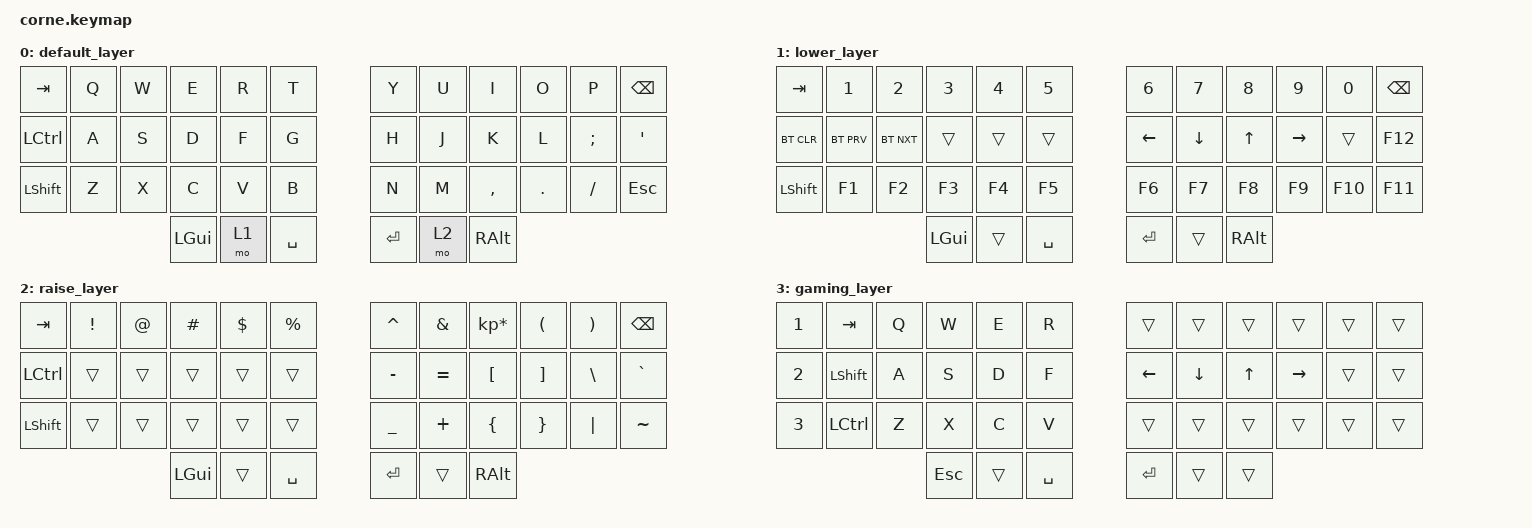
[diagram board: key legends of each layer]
/*
 * Copyright (c) 2020 The ZMK Contributors
 *
 * SPDX-License-Identifier: MIT
 */

#include <behaviors.dtsi>
#include <dt-bindings/zmk/bt.h>
#include <dt-bindings/zmk/keys.h>

/ {
    combos {
        compatible = "zmk,combos";

        gaming-layer-toggle {
            bindings = <&tog 3>;
            key-positions = <37 40>;
            layers = <0 3 2 1>;
            slow-release;
        };
    };

    keymap {
        compatible = "zmk,keymap";

        default_layer {
            // -----------------------------------------------------------------------------------------
            // |  TAB |  Q  |  W  |  E  |  R  |  T  |   |  Y  |  U   |  I  |  O  |  P  | BKSP |
            // | CTRL |  A  |  S  |  D  |  F  |  G  |   |  H  |  J   |  K  |  L  |  ;  |  '   |
            // | SHFT |  Z  |  X  |  C  |  V  |  B  |   |  N  |  M   |  ,  |  .  |  /  | ESC  |
            //                    | GUI | LWR | SPC |   | ENT | RSE  | ALT |

            bindings = <
&kp TAB    &kp Q  &kp W  &kp E     &kp R  &kp T        &kp Y    &kp U  &kp I      &kp O    &kp P     &kp BSPC
&kp LCTRL  &kp A  &kp S  &kp D     &kp F  &kp G        &kp H    &kp J  &kp K      &kp L    &kp SEMI  &kp SQT
&kp LSHFT  &kp Z  &kp X  &kp C     &kp V  &kp B        &kp N    &kp M  &kp COMMA  &kp DOT  &kp FSLH  &kp ESC
                         &kp LGUI  &mo 1  &kp SPACE    &kp RET  &mo 2  &kp RALT
            >;
        };

        lower_layer {
            // -----------------------------------------------------------------------------------------
            // |  TAB |  1  |  2  |  3  |  4  |  5  |   |  6  |  7  |  8  |  9  |  0  | BKSP |
            // | BTCLR| BT1 | BT2 | BT3 | BT4 | BT5 |   | LFT | DWN |  UP | RGT |     |      |
            // | SHFT |     |     |     |     |     |   |     |     |     |     |     |      |
            //                    | GUI |     | SPC |   | ENT |     | ALT |

            bindings = <
&kp TAB     &kp N1      &kp N2      &kp N3    &kp N4  &kp N5       &kp N6    &kp N7    &kp N8    &kp N9     &kp N0   &kp BSPC
&bt BT_CLR  &bt BT_PRV  &bt BT_NXT  &trans    &trans  &trans       &kp LEFT  &kp DOWN  &kp UP    &kp RIGHT  &trans   &kp F12
&kp LSHFT   &kp F1      &kp F2      &kp F3    &kp F4  &kp F5       &kp F6    &kp F7    &kp F8    &kp F9     &kp F10  &kp F11
                                    &kp LGUI  &trans  &kp SPACE    &kp RET   &trans    &kp RALT
            >;
        };

        raise_layer {
            // -----------------------------------------------------------------------------------------
            // |  TAB |  !  |  @  |  #  |  $  |  %  |   |  ^  |  &  |  *  |  (  |  )  | BKSP |
            // | CTRL |     |     |     |     |     |   |  -  |  =  |  [  |  ]  |  \  |  `   |
            // | SHFT |     |     |     |     |     |   |  _  |  +  |  {  |  }  | "|" |  ~   |
            //                    | GUI |     | SPC |   | ENT |     | ALT |

            bindings = <
&kp TAB    &kp EXCL  &kp AT  &kp HASH  &kp DLLR  &kp PRCNT    &kp CARET  &kp AMPS   &kp KP_MULTIPLY  &kp LPAR  &kp RPAR  &kp BSPC
&kp LCTRL  &trans    &trans  &trans    &trans    &trans       &kp MINUS  &kp EQUAL  &kp LBKT         &kp RBKT  &kp BSLH  &kp GRAVE
&kp LSHFT  &trans    &trans  &trans    &trans    &trans       &kp UNDER  &kp PLUS   &kp LBRC         &kp RBRC  &kp PIPE  &kp TILDE
                             &kp LGUI  &trans    &kp SPACE    &kp RET    &trans     &kp RALT
            >;
        };

        gaming_layer {
            bindings = <
&kp NUMBER_1  &kp TAB         &kp Q  &kp W       &kp E   &kp R        &trans     &trans          &trans        &trans     &trans  &trans
&kp NUMBER_2  &kp LEFT_SHIFT  &kp A  &kp S       &kp D   &kp F        &kp LEFT   &kp DOWN_ARROW  &kp UP_ARROW  &kp RIGHT  &trans  &trans
&kp NUMBER_3  &kp LCTRL       &kp Z  &kp X       &kp C   &kp V        &trans     &trans          &trans        &trans     &trans  &trans
                                     &kp ESCAPE  &trans  &kp SPACE    &kp ENTER  &trans          &trans
            >;
        };
    };
};
